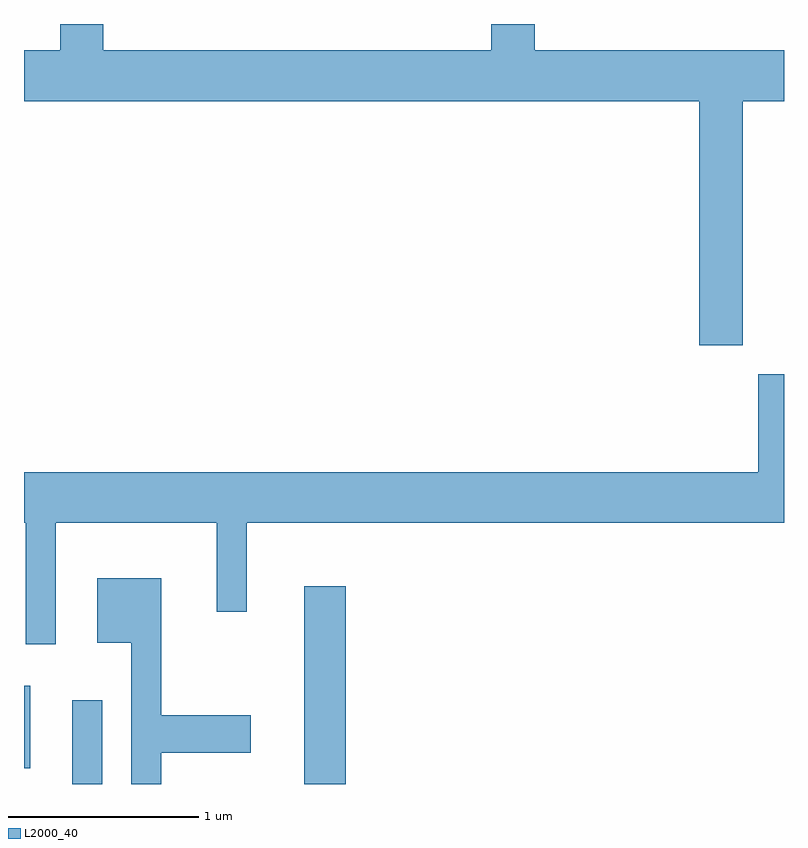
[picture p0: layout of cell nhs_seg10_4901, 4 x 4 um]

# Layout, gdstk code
import gdstk
lib = gdstk.Library(unit=1e-6, precision=1e-09)
def R(c, l, rs):  # rectangles x0, y0, x1, y1
    for r in rs: c.add(gdstk.rectangle(r[:2], r[2:], *l))
def P(c, l, *ps):  # polygons
    for p in ps: c.add(gdstk.Polygon(p, *l))
L2000_40 = (2000, 40)

nhs_seg10_4901 = lib.new_cell('nhs_seg10_4901')
R(nhs_seg10_4901, L2000_40, [(329.866,2132.522,330.024,2132.963), (331.086,2132.522,331.304,2133.564), (329.611,2132.606,329.644,2133.039)])
P(nhs_seg10_4901, L2000_40, [(333.394,2136.116),(333.611,2136.116),(333.611,2136.384),(332.299,2136.384),(332.299,2136.522),(332.071,2136.522),(332.071,2136.384),(330.029,2136.384),(330.029,2136.522),(329.801,2136.522),(329.801,2136.384),(329.611,2136.384),(329.611,2136.116),(333.166,2136.116),(333.166,2134.831),(333.394,2134.831)],
  [(329.779,2133.896),(330.626,2133.896),(330.626,2133.428),(330.784,2133.428),(330.784,2133.896),(333.611,2133.896),(333.611,2134.679),(333.476,2134.679),(333.476,2134.164),(329.611,2134.164),(329.611,2133.896),(329.621,2133.896),(329.621,2133.258),(329.779,2133.258)],
  [(330.334,2132.686),(330.804,2132.686),(330.804,2132.884),(330.334,2132.884),(330.334,2133.604),(329.996,2133.604),(329.996,2133.266),(330.176,2133.266),(330.176,2132.522),(330.334,2132.522)])

lib.write_gds('nhs_seg10_4901.gds')
